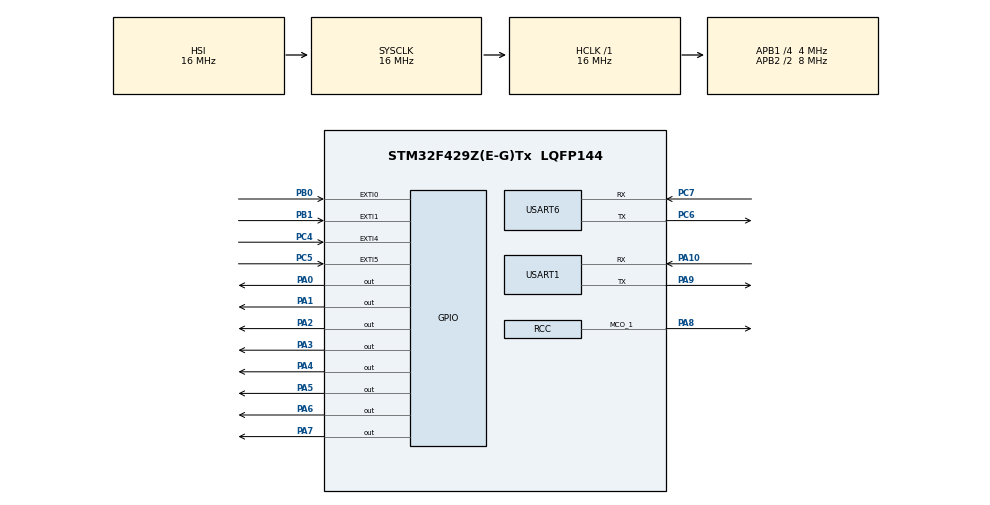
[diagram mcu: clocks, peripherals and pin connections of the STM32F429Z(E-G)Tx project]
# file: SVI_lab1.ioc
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Mcu.Family=STM32F4
RCC.CortexFreq_Value=16000000
PA0/WKUP.Signal=GPIO_Output
ProjectManager.StackSize=0x400
NVIC.EXTI1_IRQn=true\:0\:0\:false\:false\:true\:true\:true
PA12.Signal=USB_OTG_FS_DP
PB1.GPIO_PuPd=GPIO_PULLDOWN
RCC.HCLKFreq_Value=16000000
RCC.APB2TimFreq_Value=16000000
PC7.Signal=USART6_RX
RCC.AHBFreq_Value=16000000
RCC.HSE_VALUE=25000000
PA8.Signal=RCC_MCO_1
Mcu.Package=LQFP144
PA6.Signal=GPIO_Output
PB1.Signal=GPXTI1
USART6.VirtualMode=VM_ASYNC
PA10.Signal=USART1_RX
RCC.APB2CLKDivider=RCC_HCLK_DIV2
RCC.APB1TimFreq_Value=8000000
PC5.Signal=GPXTI5
PA3.Signal=GPIO_Output
NVIC.EXTI4_IRQn=true\:0\:0\:false\:false\:true\:true\:true
PA10.Mode=Asynchronous
PC4.GPIO_PuPd=GPIO_PULLDOWN
PC4.Signal=GPXTI4
PC6.Signal=USART6_TX
RCC.APB1CLKDivider=RCC_HCLK_DIV4
PC5.GPIO_PuPd=GPIO_PULLDOWN
PA13.Signal=SYS_JTMS-SWDIO
PA9.Mode=Asynchronous
ProjectManager.TargetToolchain=TrueSTUDIO
PC6.Mode=Asynchronous
PA9.Signal=USART1_TX
RCC.LSE_VALUE=32768
PA1.Signal=GPIO_Output
PA5.Signal=GPIO_Output
board=custom
RCC.VCOOutputFreq_Value=360000000
RCC.APB2Freq_Value=8000000
Mcu.Name=STM32F429Z(E-G)Tx
PA2.Signal=GPIO_Output
RCC.48MHZClocksFreq_Value=90000000
NVIC.EXTI0_IRQn=true\:0\:0\:false\:false\:true\:true\:true
PA4.Signal=GPIO_Output
RCC.SYSCLKFreq_VALUE=16000000
USART1.VirtualMode=VM_ASYNC
PA11.Signal=USB_OTG_FS_DM
NVIC.EXTI9_5_IRQn=true\:0\:0\:false\:false\:true\:true\:true
PA14.Signal=SYS_JTCK-SWCLK
ProjectManager.HeapSize=0x200
RCC.HSI_VALUE=16000000
NVIC.PriorityGroup=NVIC_PRIORITYGROUP_4
RCC.PLLM=8
RCC.PLLN=180
PA8.Mode=Clock-out-1
PC7.Mode=Asynchronous
RCC.APB1Freq_Value=4000000
PB0.Signal=GPXTI0
PB0.GPIO_PuPd=GPIO_PULLDOWN
PA7.Signal=GPIO_Output

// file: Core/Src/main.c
/* USER CODE BEGIN Header */
/**
  ******************************************************************************
  * @file           : main.c
  * @brief          : Main program body
  ******************************************************************************
  * @attention
  *
  * <h2><center>&copy; Copyright (c) 2021 STMicroelectronics.
  * All rights reserved.</center></h2>
  *
  * This software component is licensed by ST under BSD 3-Clause license,
  * the "License"; You may not use this file except in compliance with the
  * License. You may obtain a copy of the License at:
  *                        opensource.org/licenses/BSD-3-Clause
  *
  ******************************************************************************
  */
/* USER CODE END Header */
#include "main.h"

UART_HandleTypeDef huart1;
UART_HandleTypeDef huart6;

void SystemClock_Config(void);
static void MX_GPIO_Init(void);
static void MX_USART1_UART_Init(void);
static void MX_USART6_UART_Init(void);

/* USER CODE BEGIN 0 */
	/*
	 * Reset leds in line HL0..HL7 on board
	 */
	void Reset_HLx_Leds() {
		 HAL_GPIO_WritePin(GPIOA, GPIO_PIN_0|GPIO_PIN_1|GPIO_PIN_2|GPIO_PIN_3
			                           |GPIO_PIN_4|GPIO_PIN_5|GPIO_PIN_6|GPIO_PIN_7, GPIO_PIN_RESET);
	}
/* USER CODE END 0 */

int main(void)
{

  /* MCU Configuration--------------------------------------------------------*/

  /* Reset of all peripherals, Initializes the Flash interface and the Systick. */
  HAL_Init();

  /* Configure the system clock */
  SystemClock_Config();

  /* Initialize all configured peripherals */
  MX_GPIO_Init();
  MX_USART1_UART_Init();
  MX_USART6_UART_Init();

  /* Infinite loop */
  while (1)
  {

    /* USER CODE BEGIN 3 */
	    for(uint8_t i = 0; i < 6; i++) {
	    	switch(i) {
	    	case 0:
	    		Reset_HLx_Leds();
	    		HAL_GPIO_WritePin(GPIOA, GPIO_PIN_7|GPIO_PIN_6
	    								|GPIO_PIN_5|GPIO_PIN_4, GPIO_PIN_SET);
	    		HAL_Delay(1000);
	    		break;
	    	case 1:
	    		Reset_HLx_Leds();
	    		HAL_GPIO_WritePin(GPIOA, GPIO_PIN_7|GPIO_PIN_5
	    								|GPIO_PIN_3|GPIO_PIN_1, GPIO_PIN_SET);
	    		HAL_Delay(1000);
				break;
	    	case 2:
	    		Reset_HLx_Leds();
	    		HAL_GPIO_WritePin(GPIOA, GPIO_PIN_7|GPIO_PIN_6
	    								|GPIO_PIN_3|GPIO_PIN_2, GPIO_PIN_SET);
	    		HAL_Delay(1000);
				break;
	    	case 3:
	    		Reset_HLx_Leds();
	    		HAL_GPIO_WritePin(GPIOA, GPIO_PIN_7|GPIO_PIN_6
	    								|GPIO_PIN_5|GPIO_PIN_2
										|GPIO_PIN_1|GPIO_PIN_0, GPIO_PIN_SET);
	    		HAL_Delay(1000);
				break;
	    	case 4:
	    		Reset_HLx_Leds();
	    		HAL_GPIO_WritePin(GPIOA, GPIO_PIN_5|GPIO_PIN_4
	    			                    |GPIO_PIN_1|GPIO_PIN_0, GPIO_PIN_SET);
	    		HAL_Delay(1000);
				break;
	    	case 5:
	    		Reset_HLx_Leds();
	    		HAL_GPIO_WritePin(GPIOA, GPIO_PIN_7|GPIO_PIN_6
										|GPIO_PIN_1|GPIO_PIN_0, GPIO_PIN_SET);
	    		HAL_Delay(1000);
				break;
	    	default:
	    		Reset_HLx_Leds();
	    	}
	    }
  }
  /* USER CODE END 3 */
}

void SystemClock_Config(void)
{
  RCC_OscInitTypeDef RCC_OscInitStruct = {0};
  RCC_ClkInitTypeDef RCC_ClkInitStruct = {0};

  /** Configure the main internal regulator output voltage
  */
  __HAL_RCC_PWR_CLK_ENABLE();
  __HAL_PWR_VOLTAGESCALING_CONFIG(PWR_REGULATOR_VOLTAGE_SCALE3);
  /** Initializes the RCC Oscillators according to the specified parameters
  * in the RCC_OscInitTypeDef structure.
  */
  RCC_OscInitStruct.OscillatorType = RCC_OSCILLATORTYPE_HSI;
  RCC_OscInitStruct.HSIState = RCC_HSI_ON;
  RCC_OscInitStruct.HSICalibrationValue = RCC_HSICALIBRATION_DEFAULT;
  RCC_OscInitStruct.PLL.PLLState = RCC_PLL_NONE;
  if (HAL_RCC_OscConfig(&RCC_OscInitStruct) != HAL_OK)
  {
    Error_Handler();
  }
  /** Initializes the CPU, AHB and APB buses clocks
  */
  RCC_ClkInitStruct.ClockType = RCC_CLOCKTYPE_HCLK|RCC_CLOCKTYPE_SYSCLK
                              |RCC_CLOCKTYPE_PCLK1|RCC_CLOCKTYPE_PCLK2;
  RCC_ClkInitStruct.SYSCLKSource = RCC_SYSCLKSOURCE_HSI;
  RCC_ClkInitStruct.AHBCLKDivider = RCC_SYSCLK_DIV1;
  RCC_ClkInitStruct.APB1CLKDivider = RCC_HCLK_DIV4;
  RCC_ClkInitStruct.APB2CLKDivider = RCC_HCLK_DIV2;

  if (HAL_RCC_ClockConfig(&RCC_ClkInitStruct, FLASH_LATENCY_0) != HAL_OK)
  {
    Error_Handler();
  }
  HAL_RCC_MCOConfig(RCC_MCO1, RCC_MCO1SOURCE_HSI, RCC_MCODIV_1);
}

static void MX_USART1_UART_Init(void)
{

  huart1.Instance = USART1;
  huart1.Init.BaudRate = 115200;
  huart1.Init.WordLength = UART_WORDLENGTH_8B;
  huart1.Init.StopBits = UART_STOPBITS_1;
  huart1.Init.Parity = UART_PARITY_NONE;
  huart1.Init.Mode = UART_MODE_TX_RX;
  huart1.Init.HwFlowCtl = UART_HWCONTROL_NONE;
  huart1.Init.OverSampling = UART_OVERSAMPLING_16;
  if (HAL_UART_Init(&huart1) != HAL_OK)
  {
    Error_Handler();
  }

}

static void MX_USART6_UART_Init(void)
{

  huart6.Instance = USART6;
  huart6.Init.BaudRate = 115200;
  huart6.Init.WordLength = UART_WORDLENGTH_8B;
  huart6.Init.StopBits = UART_STOPBITS_1;
  huart6.Init.Parity = UART_PARITY_NONE;
  huart6.Init.Mode = UART_MODE_TX_RX;
  huart6.Init.HwFlowCtl = UART_HWCONTROL_NONE;
  huart6.Init.OverSampling = UART_OVERSAMPLING_16;
  if (HAL_UART_Init(&huart6) != HAL_OK)
  {
    Error_Handler();
  }

}

static void MX_GPIO_Init(void)
{
  GPIO_InitTypeDef GPIO_InitStruct = {0};

  /* GPIO Ports Clock Enable */
  __HAL_RCC_GPIOA_CLK_ENABLE();
  __HAL_RCC_GPIOC_CLK_ENABLE();

  /*Configure GPIO pin Output Level */
  HAL_GPIO_WritePin(GPIOA, GPIO_PIN_0|GPIO_PIN_1|GPIO_PIN_2|GPIO_PIN_3
                          |GPIO_PIN_4|GPIO_PIN_5|GPIO_PIN_6|GPIO_PIN_7, GPIO_PIN_RESET);

  /*Configure GPIO pins : PA0 PA1 PA2 PA3
                           PA4 PA5 PA6 PA7 */
  GPIO_InitStruct.Pin = GPIO_PIN_0|GPIO_PIN_1|GPIO_PIN_2|GPIO_PIN_3
                          |GPIO_PIN_4|GPIO_PIN_5|GPIO_PIN_6|GPIO_PIN_7;
  GPIO_InitStruct.Mode = GPIO_MODE_OUTPUT_PP;
  GPIO_InitStruct.Pull = GPIO_NOPULL;
  GPIO_InitStruct.Speed = GPIO_SPEED_FREQ_LOW;
  HAL_GPIO_Init(GPIOA, &GPIO_InitStruct);

  /*Configure GPIO pin : PA8 */
  GPIO_InitStruct.Pin = GPIO_PIN_8;
  GPIO_InitStruct.Mode = GPIO_MODE_AF_PP;
  GPIO_InitStruct.Pull = GPIO_NOPULL;
  GPIO_InitStruct.Speed = GPIO_SPEED_FREQ_LOW;
  GPIO_InitStruct.Alternate = GPIO_AF0_MCO;
  HAL_GPIO_Init(GPIOA, &GPIO_InitStruct);

  /*Configure GPIO pins : PA11 PA12 */
  GPIO_InitStruct.Pin = GPIO_PIN_11|GPIO_PIN_12;
  GPIO_InitStruct.Mode = GPIO_MODE_AF_PP;
  GPIO_InitStruct.Pull = GPIO_NOPULL;
  GPIO_InitStruct.Speed = GPIO_SPEED_FREQ_VERY_HIGH;
  GPIO_InitStruct.Alternate = GPIO_AF10_OTG_FS;
  HAL_GPIO_Init(GPIOA, &GPIO_InitStruct);

}

void Error_Handler(void)
{
  __disable_irq();
  while (1)
  {
  }
}

/************************ (C) COPYRIGHT STMicroelectronics *****END OF FILE****/
